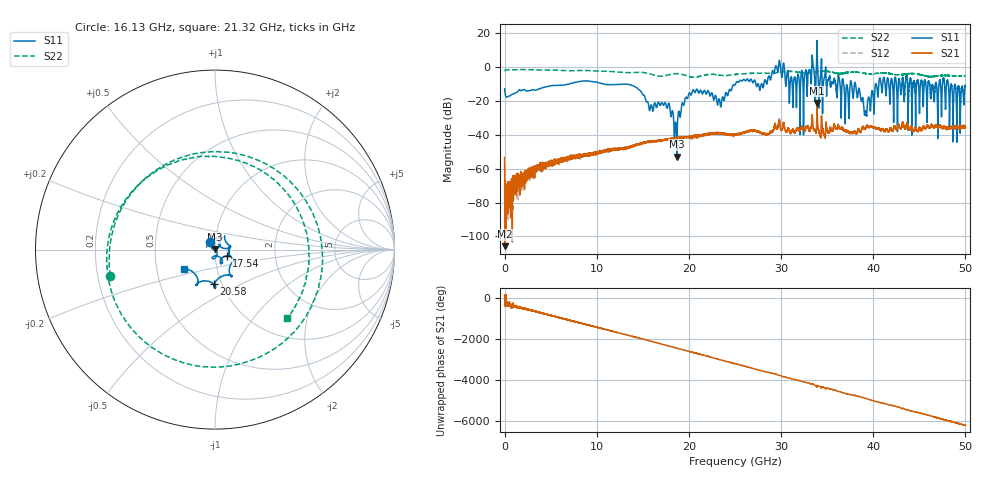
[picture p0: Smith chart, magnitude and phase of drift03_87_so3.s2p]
!Created with skrf (http://scikit-rf.org).
# Hz S RI R 50.0
!freq ReS11 ImS11 ReS21 ImS21 ReS12 ImS12 ReS22 ImS22
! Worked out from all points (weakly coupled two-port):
!   10001 points, 300 kHz to 50 GHz, reference 50 ohm
!   highest |S21| = -21.01 dB at 33.9 GHz (marker M1); lowest = -105.7 dB at 70.3 MHz (marker M2)
!   lowest |S11| = -52.7 dB at 18.7 GHz (marker M3), VSWR 1.00, Z = 50 + j0.231 ohm
!   |S11| at or under -10 dB: start of sweep to 6.944 GHz; 13.31 GHz to 25.04 GHz (11.73 GHz wide, 61.2 % of centre); 38.08 GHz to 40.25 GHz (2.172 GHz wide, 5.55 % of centre) (the widest 3 of 54)
!   |S22| runs from -5.9 to -1.3 dB; largest |S21 - S12| = 0.0093
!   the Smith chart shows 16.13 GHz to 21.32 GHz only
!   S11 on the Smith chart (normalised r, x): 16.13 GHz: 0.94, +0.08; 17.54 GHz: 1.14, -0.08; 20.58 GHz: 0.92, -0.37; 21.32 GHz: 0.69, -0.16
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300000  -0.2086 -0.1004  -0.00166 0.00139  4.64e-05 -0.00024  -0.7642 -0.1961
7.029958e7  -0.148 0.0614  6.72e-07 5.13e-06  -0.000187 -9.41e-05  -0.8311 0.0936
1.535291e9  0.2051 0.0437  4.23e-05 -0.000592  -0.000168 -0.000611  0.8487 0.0788
3.160281e9  -0.219 -0.00881  -6.66e-05 0.00094  0.000447 0.000851  -0.8449 -0.0261
4.665272e9  0.2636 0.0617  -3.96e-05 -0.00137  -3.07e-05 -0.00138  0.8189 0.144
6.360262e9  -0.3 5.51e-05  0.000654 0.00191  0.000542 0.00199  -0.8043 -0.0465
8.33525e9  0.2839 -0.2676  -0.00235 -0.000956  -0.00228 -0.000784  0.6041 -0.5346
9.575243e9  -0.3722 -0.0488  0.0014 0.00254  0.00125 0.00253  -0.786 -0.099
1.124523e10  0.3062 0.0237  -0.00215 -0.00282  -0.00216 -0.00301  0.7583 0.0233
1.61252e10  -0.0295 0.0444  0.00625 0.00206  0.00617 0.00197  -0.5828 -0.1456
1.66702e10  0.0535 0.0753  0.0045 -0.00473  0.00461 -0.0048  -0.3663 0.4148
1.753519e10  0.0652 -0.0349  -0.00602 -0.00388  -0.00632 -0.00386  0.4955 0.2863
1.869519e10  0.000108 0.00231  0.00241 0.00781  0.0022 0.00793  -0.0851 -0.6502
2.057518e10  -0.00493 -0.1928  -0.00815 -0.00484  -0.00767 -0.0047  0.3698 0.3512
2.131517e10  -0.1717 -0.109  -0.00522 0.00827  -0.00501 0.00829  0.4037 -0.3784
2.500015e10  -0.2971 -0.0496  0.00765 0.00629  0.00789 0.00664  -0.1778 -0.5841
3.052012e10  0.2311 -0.1465  -0.0019 0.0129  -0.0019 0.0128  0.7463 -0.0622
3.214011e10  0.1996 0.427  -0.000295 -0.0149  -0.000172 -0.0153  -0.6915 -0.00362
3.33351e10  0.504 -1.024  -0.0056 0.0259  -0.00726 0.0247  0.6099 0.374
3.39001e10  1.985 -5.569  0.0758 0.0467  0.0707 0.039  0.6785 -0.3222
4.167005e10  -0.2256 0.279  -0.0114 -0.00467  -0.0116 -0.00501  -0.6538 -0.0673
5e10  -0.1425 -0.2505  0.00148 -0.0169  0.00173 -0.0165  0.4755 -0.3113
